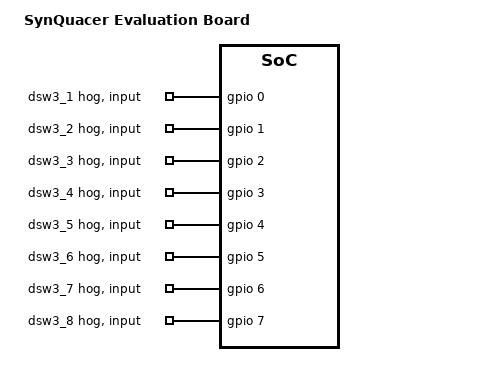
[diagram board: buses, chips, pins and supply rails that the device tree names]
/** @file
 * Copyright (c) 2017, Linaro Limited. All rights reserved.
 *
 * This program and the accompanying materials are licensed and made
 * available under the terms and conditions of the BSD License which
 * accompanies this distribution.  The full text of the license may be
 * found at http://opensource.org/licenses/bsd-license.php
 *
 * THE PROGRAM IS DISTRIBUTED UNDER THE BSD LICENSE ON AN "AS IS" BASIS,
 * WITHOUT WARRANTIES OR REPRESENTATIONS OF ANY KIND, EITHER EXPRESS OR
 * IMPLIED.
 */

/dts-v1/;

#include "SynQuacer.dtsi"

/ {
    model = "SynQuacer Evaluation Board";
    compatible = "socionext,synquacer-eval-board", "socionext,synquacer";
};

&gpio {
    dsw3_1 {
        gpios = <0 GPIO_ACTIVE_HIGH>;
        gpio-hog;
        input;
    };

    dsw3_2 {
        gpios = <1 GPIO_ACTIVE_HIGH>;
        gpio-hog;
        input;
    };

    dsw3_3 {
        gpios = <2 GPIO_ACTIVE_HIGH>;
        gpio-hog;
        input;
    };

    dsw3_4 {
        gpios = <3 GPIO_ACTIVE_HIGH>;
        gpio-hog;
        input;
    };

    dsw3_5 {
        gpios = <4 GPIO_ACTIVE_HIGH>;
        gpio-hog;
        input;
    };

    dsw3_6 {
        gpios = <5 GPIO_ACTIVE_HIGH>;
        gpio-hog;
        input;
    };

    dsw3_7 {
        gpios = <6 GPIO_ACTIVE_HIGH>;
        gpio-hog;
        input;
    };

    dsw3_8 {
        gpios = <7 GPIO_ACTIVE_HIGH>;
        gpio-hog;
        input;
    };
};
